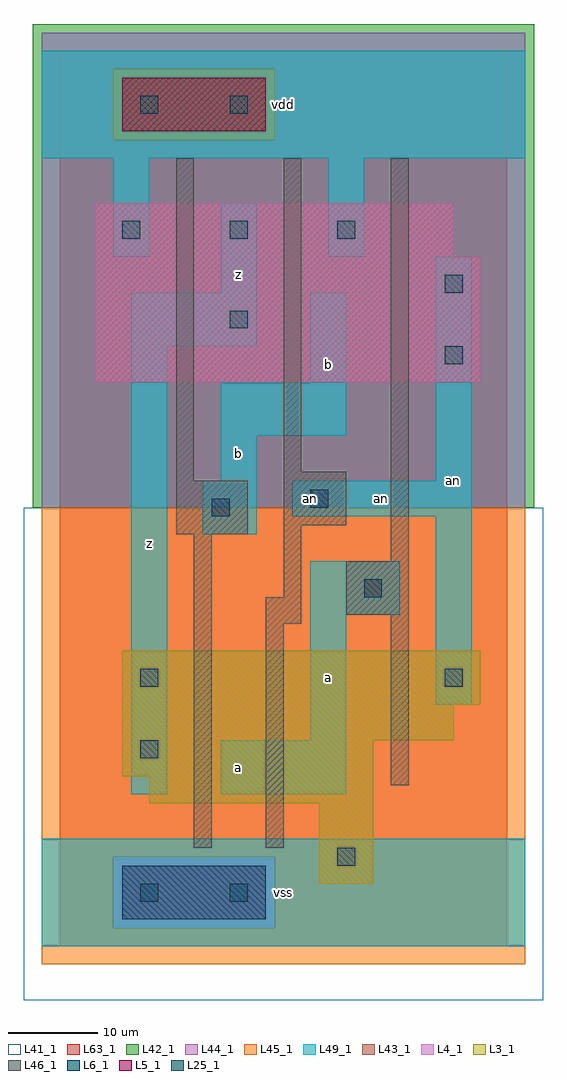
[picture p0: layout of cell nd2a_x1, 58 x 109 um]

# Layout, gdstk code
import gdstk
lib = gdstk.Library(unit=1e-6, precision=1e-09)
def R(c, l, rs):  # rectangles x0, y0, x1, y1
    for r in rs: c.add(gdstk.rectangle(r[:2], r[2:], *l))
def A(c, l, x, y, w, h, nx, ny, dx, dy):  # array of equal rectangles
    R(c, l, [(x+i*dx, y+j*dy, x+i*dx+w, y+j*dy+h) for i in range(nx) for j in range(ny)])
L3_1 = (3, 1)
L4_1 = (4, 1)
L5_1 = (5, 1)
L6_1 = (6, 1)
L25_1 = (25, 1)
L41_1 = (41, 1)
L42_1 = (42, 1)
L43_1 = (43, 1)
L44_1 = (44, 1)
L45_1 = (45, 1)
L46_1 = (46, 1)
L49_1 = (49, 1)
L63_1 = (63, 1)

nd2a_x1 = lib.new_cell('nd2a_x1')
R(nd2a_x1, L3_1, [(29,7,35,16), (10,16,35,19), (7,19,35,23), (7,23,44,27), (7,27,47,33)])
R(nd2a_x1, L4_1, [(4,63,47,77), (4,77,44,83)])
R(nd2a_x1, L5_1, [(7,91,23,97)])
R(nd2a_x1, L6_1, [(7,3,23,9)])
A(nd2a_x1, L25_1, 7, 79, 2, 2, 3, 1, 12, 0)
R(nd2a_x1, L25_1, [(9,5,11,7), (19,5,21,7), (31,9,33,11), (9,21,11,23), (9,29,11,31), (43,29,45,31), (34,39,36,41), (17,48,19,50), (28,49,30,51), (43,65,45,67), (19,69,21,71), (43,73,45,75), (9,93,11,95), (19,93,21,95)])
R(nd2a_x1, L41_1, [(-4,-6,54,49), (-3,-3,53,49)])
R(nd2a_x1, L42_1, [(-3,49,53,103)])
R(nd2a_x1, L43_1, [(7,3,23,9), (29,7,35,16), (10,16,35,19), (7,19,35,23), (7,23,44,27), (7,27,47,33), (4,63,47,77), (4,77,44,83), (7,91,23,97)])
R(nd2a_x1, L44_1, [(6,2,24,10), (-2,49,52,90), (-2,90,6,98), (24,90,52,98), (-2,98,52,102)])
R(nd2a_x1, L45_1, [(-2,-2,52,2), (-2,2,6,10), (24,2,52,10), (-2,10,52,49), (6,90,24,98)])
R(nd2a_x1, L46_1, [(15,11,17,46), (23,11,25,36), (37,18,39,37), (23,36,27,39), (32,37,39,43), (25,39,27,47), (37,43,39,88), (13,46,21,52), (25,47,32,53), (13,52,15,88), (25,53,27,88)])
R(nd2a_x1, L49_1, [(-2,0,52,12), (8,17,12,67), (18,17,32,23), (28,23,32,37), (42,27,46,48), (28,37,38,43), (16,46,22,52), (26,48,46,52), (18,52,22,57), (42,52,46,77), (18,57,32,63), (28,63,32,73), (8,67,22,73), (18,73,22,83), (6,77,10,88), (30,77,34,88), (-2,88,52,100)])
R(nd2a_x1, L63_1, [(0,0,50,100)])
nd2a_x1.add(gdstk.Label('an', (28,50), layer=49, texttype=1))
nd2a_x1.add(gdstk.Label('a', (20,20), layer=49, texttype=1))
nd2a_x1.add(gdstk.Label('a', (20,20), layer=49, texttype=1))
nd2a_x1.add(gdstk.Label('z', (10,45), layer=49, texttype=1))
nd2a_x1.add(gdstk.Label('z', (10,45), layer=49, texttype=1))
nd2a_x1.add(gdstk.Label('b', (20,55), layer=49, texttype=1))
nd2a_x1.add(gdstk.Label('b', (20,55), layer=49, texttype=1))
nd2a_x1.add(gdstk.Label('z', (20,75), layer=49, texttype=1))
nd2a_x1.add(gdstk.Label('z', (20,75), layer=49, texttype=1))
nd2a_x1.add(gdstk.Label('vss', (25,6), layer=49, texttype=1))
nd2a_x1.add(gdstk.Label('vss', (25,6), layer=49, texttype=1))
nd2a_x1.add(gdstk.Label('a', (30,30), layer=49, texttype=1))
nd2a_x1.add(gdstk.Label('a', (30,30), layer=49, texttype=1))
nd2a_x1.add(gdstk.Label('b', (30,65), layer=49, texttype=1))
nd2a_x1.add(gdstk.Label('b', (30,65), layer=49, texttype=1))
nd2a_x1.add(gdstk.Label('vdd', (25,94), layer=49, texttype=1))
nd2a_x1.add(gdstk.Label('vdd', (25,94), layer=49, texttype=1))
nd2a_x1.add(gdstk.Label('an', (36,50), layer=49, texttype=1))
nd2a_x1.add(gdstk.Label('an', (44,52), layer=49, texttype=1))

lib.write_gds('nd2a_x1.gds')
